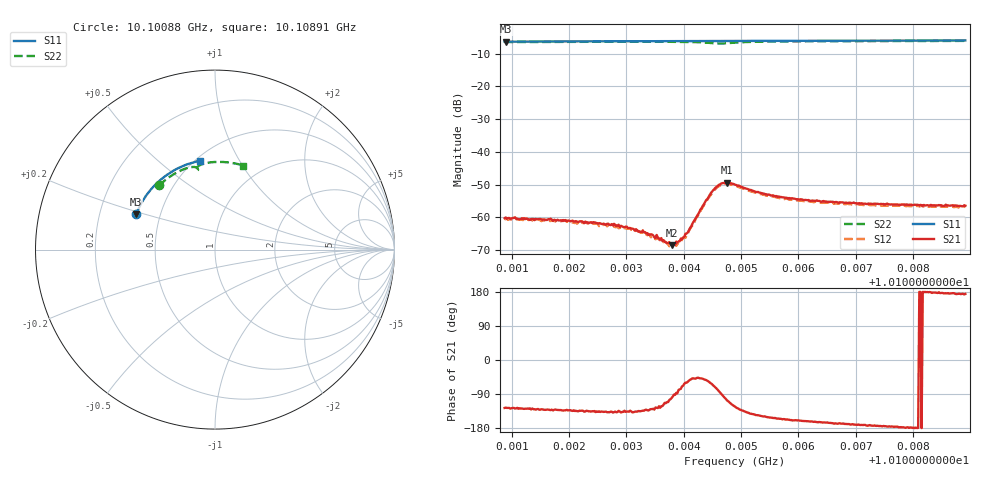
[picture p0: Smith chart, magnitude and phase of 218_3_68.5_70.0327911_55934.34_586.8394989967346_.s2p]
#  HZ  S  RI  R  50.00
! Rohde & Schwarz Vector Network Analyzer
! Rohde-Schwarz,ZNB20-2Port,1311601062101988,3.16
! Created: UTC 3/20/2024, 4:58:19 PM
! freq[Hz]  re:S11  im:S11  re:S21  im:S21  re:S12  im:S12  re:S22  im:S22
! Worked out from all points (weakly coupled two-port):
!   401 points, 10.10088 GHz to 10.10891 GHz, reference 50 ohm
!   highest |S21| = -49.41 dB at 10.10475 GHz (marker M1); lowest = -68.5 dB at 10.10379 GHz (marker M2)
!   lowest |S11| = -6.3 dB at 10.1009 GHz (marker M3), VSWR 2.86, Z = 18.2 + j9.37 ohm
!   |S11| at or under -10 dB: nowhere
!   |S22| runs from -6.9 to -6.1 dB; largest |S21 - S12| = 0.00037
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1.0100877e10  -0.4397 0.1965  -0.000576 -0.000779  -0.000496 -0.000791  -0.3114 0.3575
1.0100897e10  -0.4391 0.1977  -0.000578 -0.000806  -0.000486 -0.000799  -0.3104 0.3584
1.0101902e10  -0.4133 0.2531  -0.000623 -0.000659  -0.000552 -0.000684  -0.2601 0.3999
1.0102223e10  -0.4037 0.2702  -0.000599 -0.000629  -0.000526 -0.00064  -0.2429 0.4117
1.0102826e10  -0.3839 0.301  -0.000546 -0.000491  -0.000475 -0.000526  -0.2085 0.4318
1.0103027e10  -0.3765 0.3107  -0.000493 -0.000476  -0.000435 -0.00051  -0.1965 0.4379
1.0103569e10  -0.3559 0.3364  -0.000253 -0.000402  -0.000238 -0.00039  -0.162 0.4522
1.010367e10  -0.352 0.3411  -0.000164 -0.000387  -0.000172 -0.000392  -0.1553 0.4545
1.010379e10  -0.347 0.3465  -6.63e-05 -0.000368  -5.94e-05 -0.000382  -0.1467 0.4569
1.010381e10  -0.3462 0.3475  -4.37e-05 -0.000395  -1.59e-05 -0.000374  -0.1454 0.4573
1.0103911e10  -0.3421 0.3518  8.27e-05 -0.000419  7.46e-05 -0.000403  -0.1379 0.4588
1.0103971e10  -0.3395 0.3544  0.000157 -0.00043  0.000201 -0.000414  -0.1333 0.4596
1.0104051e10  -0.3362 0.3582  0.000283 -0.000491  0.000346 -0.000418  -0.1269 0.4605
1.0104353e10  -0.3232 0.371  0.000998 -0.00123  0.00106 -0.00111  -0.1023 0.4562
1.0104514e10  -0.316 0.3775  0.00102 -0.00237  0.00118 -0.00216  -0.0946 0.446
1.0104634e10  -0.3107 0.3823  0.000231 -0.00317  0.000511 -0.00303  -0.098 0.4401
1.0104755e10  -0.3051 0.3871  -0.000954 -0.00325  -0.000592 -0.0032  -0.1035 0.4436
1.0104895e10  -0.2989 0.3927  -0.00172 -0.00263  -0.00145 -0.00267  -0.1026 0.4543
1.0105438e10  -0.2728 0.4129  -0.00195 -0.00112  -0.00177 -0.00122  -0.0676 0.4774
1.0106242e10  -0.232 0.4395  -0.00172 -0.000548  -0.0016 -0.000664  -0.0128 0.4874
1.0107588e10  -0.1584 0.4739  -0.00156 -0.000137  -0.00151 -0.000278  0.0749 0.4856
1.0108914e10  -0.0811 0.4954  -0.0015 0.000145  -0.00143 1.68e-05  0.1579 0.4682
